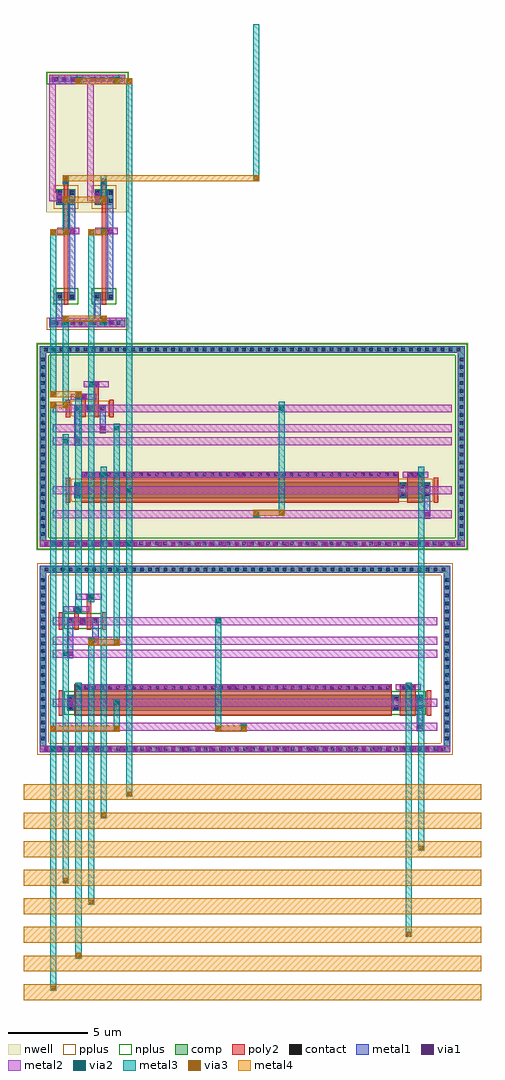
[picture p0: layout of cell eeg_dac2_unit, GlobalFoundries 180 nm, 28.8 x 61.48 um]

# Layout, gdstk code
import gdstk
lib = gdstk.Library(unit=1e-6, precision=1e-09)
def R(c, l, rs):  # rectangles x0, y0, x1, y1
    for r in rs: c.add(gdstk.rectangle(r[:2], r[2:], *l))
def A(c, l, x, y, w, h, nx, ny, dx, dy):  # array of equal rectangles
    R(c, l, [(x+i*dx, y+j*dy, x+i*dx+w, y+j*dy+h) for i in range(nx) for j in range(ny)])
nwell = (21, 0)
comp = (22, 0)
poly2 = (30, 0)
pplus = (31, 0)
nplus = (32, 0)
contact = (33, 0)
metal1 = (34, 0)
via1 = (35, 0)
metal2 = (36, 0)
via2 = (38, 0)
via3 = (40, 0)
metal3 = (42, 0)
metal4 = (46, 0)

dac2_n = lib.new_cell('dac2_n')
R(dac2_n, comp, [(0,0,25.86,0.42), (0,0,0.42,11.74), (25.44,0,25.86,11.74), (1.72,2.62,24.14,3.62), (1.72,8.02,3.7,8.52), (0,11.32,25.86,11.74)])
R(dac2_n, poly2, [(1.2,2.32,1.48,3.92), (2.17,2.32,22.17,4.28), (22.69,2.32,23.69,4.28), (24.38,2.32,24.66,3.92), (1.2,7.72,1.48,8.82), (2.17,7.72,2.45,9.18), (2.97,7.72,3.25,9.98), (3.94,7.72,4.22,8.82), (2.13,8.82,2.49,9.18), (2.93,9.62,3.29,9.98)])
R(dac2_n, pplus, [(-0.16,-0.16,26.02,0.58), (-0.16,-0.16,0.58,11.9), (25.28,-0.16,26.02,11.9), (-0.16,11.16,26.02,11.9)])
R(dac2_n, nplus, [(1.54,2.38,24.32,3.86), (1.54,7.78,3.88,8.76)])
A(dac2_n, contact, 0.32, 0.1, 0.22, 0.22, 51, 2, 0.5, 11.32)
A(dac2_n, contact, 0.1, 0.76, 0.22, 0.22, 1, 21, 0, 0.5)
A(dac2_n, contact, 25.54, 0.76, 0.22, 0.22, 1, 21, 0, 0.5)
A(dac2_n, contact, 2.31, 3.99, 0.22, 0.22, 40, 1, 0.5, 0)
A(dac2_n, contact, 1.8, 8.16, 0.22, 0.22, 3, 1, 0.8, 0)
R(dac2_n, contact, [(1.8,2.76,2.02,2.98), (22.32,2.76,22.54,2.98), (23.84,2.76,24.06,2.98), (1.8,3.26,2.02,3.48), (22.32,3.26,22.54,3.48), (23.84,3.26,24.06,3.48), (22.83,3.99,23.05,4.21), (23.33,3.99,23.55,4.21), (2.2,8.89,2.42,9.11), (3,9.69,3.22,9.91)])
R(dac2_n, metal1, [(0,0,25.86,0.42), (0,0,0.42,11.74), (25.44,0,25.86,11.74), (23.76,1.32,24.14,3.56), (1.72,2.68,2.1,3.56), (22.24,2.68,22.62,3.56), (2.23,3.91,22.11,4.29), (22.75,3.91,23.63,4.29), (1.72,5.92,2.1,8.46), (3.32,6.72,3.7,8.46), (2.52,8.08,2.9,8.46), (2.12,8.81,2.5,9.19), (2.92,9.61,3.3,9.99), (0,11.32,25.86,11.74)])
A(dac2_n, via1, 0.27, 0.08, 0.26, 0.26, 32, 1, 0.8, 0)
R(dac2_n, via1, [(23.82,1.49,24.08,1.75), (1.78,2.99,2.04,3.25), (12.04,3.97,12.3,4.23), (23.06,3.97,23.32,4.23), (1.78,6.09,2.04,6.35), (3.38,6.89,3.64,7.15), (2.58,8.14,2.84,8.4), (2.18,8.87,2.44,9.13), (2.98,9.67,3.24,9.93)])
R(dac2_n, metal2, [(0,0,25.86,0.42), (0.82,1.37,25.04,1.87), (0.82,2.87,25.04,3.37), (2.23,3.91,22.11,4.29), (22.41,3.91,24.01,4.29), (0.82,5.97,25.04,6.47), (0.82,6.77,25.04,7.27), (0.82,8.02,25.04,8.52), (1.51,8.81,3.11,9.19), (2.31,9.61,3.91,9.99)])

dac2_p = lib.new_cell('dac2_p')
R(dac2_p, nwell, [(-0.22,-0.22,26.98,12.86)])
R(dac2_p, comp, [(0,0,26.76,0.42), (0,0,0.42,12.64), (26.34,0,26.76,12.64), (2.17,3.07,24.59,4.07), (2.17,8.47,4.15,8.97), (0,12.22,26.76,12.64)])
R(dac2_p, poly2, [(1.65,2.77,1.93,4.37), (2.62,2.77,22.62,4.73), (23.14,2.77,24.14,4.73), (24.83,2.77,25.11,4.37), (1.65,8.17,1.93,9.27), (2.62,8.17,2.9,9.63), (3.42,8.17,3.7,10.43), (4.39,8.17,4.67,9.27), (2.58,9.27,2.94,9.63), (3.38,10.07,3.74,10.43)])
R(dac2_p, pplus, [(1.99,2.83,24.77,4.31), (1.99,8.23,4.33,9.21)])
R(dac2_p, nplus, [(-0.16,-0.16,26.92,0.58), (-0.16,-0.16,0.58,12.8), (26.18,-0.16,26.92,12.8), (-0.16,12.06,26.92,12.8)])
A(dac2_p, contact, 0.27, 0.1, 0.22, 0.22, 53, 2, 0.5, 12.22)
A(dac2_p, contact, 0.1, 0.71, 0.22, 0.22, 1, 23, 0, 0.5)
A(dac2_p, contact, 26.44, 0.71, 0.22, 0.22, 1, 23, 0, 0.5)
A(dac2_p, contact, 2.76, 4.44, 0.22, 0.22, 40, 1, 0.5, 0)
A(dac2_p, contact, 2.25, 8.61, 0.22, 0.22, 3, 1, 0.8, 0)
R(dac2_p, contact, [(2.25,3.21,2.47,3.43), (22.77,3.21,22.99,3.43), (24.29,3.21,24.51,3.43), (2.25,3.71,2.47,3.93), (22.77,3.71,22.99,3.93), (24.29,3.71,24.51,3.93), (23.28,4.44,23.5,4.66), (23.78,4.44,24,4.66), (2.65,9.34,2.87,9.56), (3.45,10.14,3.67,10.36)])
R(dac2_p, metal1, [(0,0,26.76,0.42), (0,0,0.42,12.64), (26.34,0,26.76,12.64), (24.21,1.77,24.59,4.01), (2.17,3.13,2.55,4.01), (22.69,3.13,23.07,4.01), (2.68,4.36,22.56,4.74), (23.2,4.36,24.08,4.74), (2.17,6.37,2.55,8.91), (3.77,7.17,4.15,8.91), (2.97,8.53,3.35,8.91), (2.57,9.26,2.95,9.64), (3.37,10.06,3.75,10.44), (0,12.22,26.76,12.64)])
A(dac2_p, via1, 0.27, 0.08, 0.26, 0.26, 33, 1, 0.8, 0)
R(dac2_p, via1, [(24.27,1.94,24.53,2.2), (2.23,3.44,2.49,3.7), (12.49,4.42,12.75,4.68), (23.51,4.42,23.77,4.68), (2.23,6.54,2.49,6.8), (3.83,7.34,4.09,7.6), (3.03,8.59,3.29,8.85), (2.63,9.32,2.89,9.58), (3.43,10.12,3.69,10.38)])
R(dac2_p, metal2, [(0,0,26.76,0.42), (0.82,1.82,25.94,2.32), (0.82,3.32,25.94,3.82), (2.68,4.36,22.56,4.74), (22.86,4.36,24.46,4.74), (0.82,6.42,25.94,6.92), (0.82,7.22,25.94,7.72), (0.82,8.47,25.94,8.97), (1.96,9.26,3.56,9.64), (2.76,10.06,4.36,10.44)])

eeg_dac2_inv = lib.new_cell('eeg_dac2_inv')
R(eeg_dac2_inv, nwell, [(-0.2,7.25,2.6,16.1)])
R(eeg_dac2_inv, comp, [(0,0,2.4,0.44), (0.45,1.7,1.63,2.2), (0.45,7.7,1.63,8.7), (0,15.46,2.4,15.9)])
R(eeg_dac2_inv, poly2, [(0.9,1.4,1.18,7.7), (0.9,7.4,1.18,9.36), (0.86,9,1.22,9.36)])
R(eeg_dac2_inv, pplus, [(-0.16,-0.16,2.56,0.6), (0.27,7.46,1.81,8.94)])
R(eeg_dac2_inv, nplus, [(0.27,1.46,1.81,2.44), (-0.16,15.3,2.56,16.06)])
A(eeg_dac2_inv, contact, 0.34, 0.14, 0.22, 0.22, 4, 2, 0.5, 15.4)
R(eeg_dac2_inv, contact, [(0.53,1.84,0.75,2.06), (1.33,1.84,1.55,2.06), (0.53,7.84,0.75,8.06), (1.33,7.84,1.55,8.06), (0.53,8.34,0.75,8.56), (1.33,8.34,1.55,8.56), (0.93,9.07,1.15,9.29)])
R(eeg_dac2_inv, metal1, [(0,0,2.4,0.6), (0,0,2.4,0.44), (0.45,0.3,0.83,2.14), (1.25,1.76,1.63,6.25), (1.25,5.85,1.63,8.64), (0.45,7.76,0.83,8.64), (0.85,8.99,1.23,9.37), (0,15.3,2.4,15.9), (0,15.46,2.4,15.9)])
A(eeg_dac2_inv, via1, 0.15, 0.17, 0.26, 0.26, 3, 2, 0.62, 15.3)
R(eeg_dac2_inv, via1, [(1.31,5.92,1.57,6.18), (1.31,5.92,1.57,6.18), (0.51,8.07,0.77,8.33), (0.91,9.05,1.17,9.31)])
R(eeg_dac2_inv, metal2, [(0,0,2.4,0.6), (0.5,5.85,1.9,6.25), (0,7.95,0.83,8.45), (0,7.95,0.4,15.3), (0.85,8.99,1.23,9.37), (0,15.3,2.4,15.9)])

dac2_invs = lib.new_cell('dac2_invs')
dac2_invs.add(gdstk.Reference(eeg_dac2_inv, (0,0)))
dac2_invs.add(gdstk.Reference(eeg_dac2_inv, (2.4,0)))

eeg_dac2_unit = lib.new_cell('eeg_dac2_unit')
R(eeg_dac2_unit, via2, [(1.71,16.28,1.97,16.54), (13.71,17.69,13.97,17.95), (5.71,19.19,5.97,19.45), (3.31,20.17,3.57,20.43), (24.11,20.17,24.37,20.43), (2.51,22.29,2.77,22.55), (4.11,23.09,4.37,23.35), (12.11,24.34,12.37,24.6), (3.31,25.07,3.57,25.33), (4.11,25.87,4.37,26.13), (6.51,29.22,6.77,29.48), (14.51,31.08,14.77,31.34), (6.51,32.58,6.77,32.84), (4.91,33.56,5.17,33.82), (24.91,33.56,25.17,33.82), (2.51,35.68,2.77,35.94), (5.71,36.48,5.97,36.74), (16.11,37.73,16.37,37.99), (3.31,38.46,3.57,38.72), (4.11,39.26,4.37,39.52), (2.51,43.15,2.77,43.41), (4.91,43.15,5.17,43.41), (2.51,48.9,2.77,49.16), (4.91,48.9,5.17,49.16), (2.51,52.03,2.77,52.29), (4.91,52.03,5.17,52.29), (3.31,58.45,3.57,58.71), (5.71,58.45,5.97,58.71)])
A(eeg_dac2_unit, via3, 2.51, 37.95, 0.26, 0.26, 1, 3, 0, 5.44)
R(eeg_dac2_unit, via3, [(1.71,1.23,1.97,1.49), (3.31,3.27,3.57,3.53), (24.11,4.63,24.37,4.89), (4.11,6.67,4.37,6.93), (2.51,8.03,2.77,8.29), (24.91,10.07,25.17,10.33), (4.91,12.11,5.17,12.37), (6.51,13.47,6.77,13.73), (1.71,17.55,1.97,17.81), (5.71,17.55,5.97,17.81), (12.11,17.55,12.37,17.81), (13.71,17.55,13.97,17.81), (4.11,22.99,4.37,23.25), (5.71,22.99,5.97,23.25), (14.51,31.15,14.77,31.41), (16.11,31.15,16.37,31.41), (1.71,37.95,1.97,38.21), (1.71,38.63,1.97,38.89), (3.31,38.63,3.57,38.89), (4.91,43.39,5.17,43.65), (1.71,48.83,1.97,49.09), (4.11,48.83,4.37,49.09), (4.91,48.83,5.17,49.09), (2.51,50.87,2.77,51.13), (4.91,50.87,5.17,51.13), (2.51,52.23,2.77,52.49), (14.51,52.23,14.77,52.49), (3.31,58.35,3.57,58.61), (5.71,58.35,5.97,58.61), (6.51,58.35,6.77,58.61)])
A(eeg_dac2_unit, metal3, 1.65, 1.17, 0.38, 1.06, 1, 10, 0, 0.68)
A(eeg_dac2_unit, metal3, 3.25, 3.21, 0.38, 1.06, 1, 7, 0, 0.68)
A(eeg_dac2_unit, metal3, 24.05, 4.57, 0.38, 1.06, 1, 23, 0, 0.68)
A(eeg_dac2_unit, metal3, 1.65, 7.97, 0.38, 1.06, 4, 6, 0.8, 0.68)
A(eeg_dac2_unit, metal3, 24.85, 10.01, 0.38, 1.06, 1, 35, 0, 0.68)
A(eeg_dac2_unit, metal3, 1.65, 12.05, 0.38, 1.06, 5, 8, 0.8, 0.68)
A(eeg_dac2_unit, metal3, 6.45, 13.41, 0.38, 1.06, 1, 6, 0, 0.68)
A(eeg_dac2_unit, metal3, 1.65, 17.49, 0.38, 1.06, 7, 2, 0.8, 0.68)
A(eeg_dac2_unit, metal3, 12.05, 17.49, 0.38, 1.06, 1, 10, 0, 0.68)
A(eeg_dac2_unit, metal3, 1.65, 18.85, 0.38, 1.06, 5, 2, 0.8, 0.68)
A(eeg_dac2_unit, metal3, 6.45, 18.85, 0.38, 1.06, 1, 6, 0, 0.68)
A(eeg_dac2_unit, metal3, 1.65, 20.21, 0.38, 1.06, 1, 7, 0, 0.68)
A(eeg_dac2_unit, metal3, 2.45, 20.21, 0.38, 1.06, 1, 7, 0, 0.68)
A(eeg_dac2_unit, metal3, 4.05, 20.21, 0.38, 1.06, 1, 4, 0, 0.68)
A(eeg_dac2_unit, metal3, 4.85, 20.21, 0.38, 1.06, 1, 4, 0, 0.68)
A(eeg_dac2_unit, metal3, 4.85, 22.93, 0.38, 1.06, 3, 4, 0.8, 0.68)
A(eeg_dac2_unit, metal3, 1.65, 24.97, 0.38, 1.06, 3, 1, 0.8, 0)
A(eeg_dac2_unit, metal3, 1.65, 25.65, 0.38, 1.06, 7, 12, 0.8, 0.68)
A(eeg_dac2_unit, metal3, 16.05, 31.09, 0.38, 1.06, 1, 10, 0, 0.68)
A(eeg_dac2_unit, metal3, 1.65, 33.81, 0.38, 1.06, 4, 3, 0.8, 0.68)
A(eeg_dac2_unit, metal3, 5.65, 33.81, 0.38, 1.06, 1, 4, 0, 0.68)
A(eeg_dac2_unit, metal3, 6.45, 33.81, 0.38, 1.06, 1, 14, 0, 0.68)
A(eeg_dac2_unit, metal3, 1.65, 35.85, 0.38, 1.06, 1, 3, 0, 0.68)
A(eeg_dac2_unit, metal3, 3.25, 35.85, 0.38, 1.06, 1, 3, 0, 0.68)
A(eeg_dac2_unit, metal3, 4.05, 35.85, 0.38, 1.06, 1, 3, 0, 0.68)
A(eeg_dac2_unit, metal3, 2.45, 37.89, 0.38, 1.06, 3, 1, 0.8, 0)
A(eeg_dac2_unit, metal3, 2.45, 37.89, 0.38, 0.38, 1, 3, 0, 5.44)
A(eeg_dac2_unit, metal3, 1.65, 38.57, 0.38, 1.06, 1, 7, 0, 0.68)
A(eeg_dac2_unit, metal3, 2.45, 38.57, 0.38, 1.06, 1, 7, 0, 0.68)
A(eeg_dac2_unit, metal3, 4.05, 38.57, 0.38, 1.06, 1, 7, 0, 0.68)
A(eeg_dac2_unit, metal3, 1.65, 43.33, 0.38, 1.06, 3, 8, 2.4, 0.68)
A(eeg_dac2_unit, metal3, 2.45, 48.77, 0.38, 1.06, 1, 3, 0, 0.68)
A(eeg_dac2_unit, metal3, 6.45, 48.77, 0.38, 1.06, 1, 14, 0, 0.68)
A(eeg_dac2_unit, metal3, 14.45, 52.17, 0.38, 1.06, 1, 12, 0, 0.68)
R(eeg_dac2_unit, metal3, [(1.65,1.17,2.03,1.55), (3.25,3.21,3.63,3.59), (24.05,4.57,24.43,4.95), (4.05,6.61,4.43,7.67), (4.05,6.61,4.43,6.99), (4.05,7.29,4.43,8.35), (2.45,7.97,2.83,8.35), (24.85,10.01,25.23,10.39), (4.85,12.05,5.23,12.43), (6.45,13.41,6.83,13.79), (1.65,16.13,2.03,16.6), (1.65,17.49,2.03,17.87), (5.65,17.49,6.03,17.87), (12.05,17.49,12.43,17.87), (13.65,17.49,14.03,17.87), (13.65,17.49,14.03,18.01), (5.65,18.85,6.03,19.51), (3.25,20.11,3.63,20.59), (24.05,20.11,24.43,20.59), (2.45,22.23,2.83,22.63), (4.05,22.93,4.43,23.31), (4.05,22.93,4.43,23.41), (5.65,22.93,6.03,23.31), (12.05,24.28,12.43,24.67), (3.25,24.97,3.63,25.39), (4.05,25.65,4.43,26.19), (6.45,29.05,6.83,29.54), (14.45,31.02,14.83,31.47), (14.45,31.09,14.83,31.47), (16.05,31.09,16.43,31.47), (6.45,32.45,6.83,32.9), (4.85,33.5,5.23,34.19), (24.85,33.5,25.23,34.19), (2.45,35.62,2.83,36.23), (5.65,36.42,6.03,36.91), (16.05,37.67,16.43,38.27), (1.65,37.89,2.03,38.27), (3.25,38.4,3.63,38.95), (1.65,38.57,2.03,38.95), (3.25,38.57,3.63,38.95), (4.05,39.2,4.43,39.63), (2.45,43.09,2.83,43.71), (4.85,43.09,5.23,43.71), (4.85,43.33,5.23,43.71), (1.65,48.77,2.03,49.15), (2.45,48.77,2.83,49.22), (4.05,48.77,4.43,49.15), (4.85,48.77,5.23,49.15), (4.85,48.77,5.23,49.22), (2.45,50.81,2.83,51.19), (4.85,50.81,5.23,51.87), (4.85,50.81,5.23,51.19), (4.85,51.49,5.23,52.55), (2.45,51.97,2.83,52.55), (4.85,51.97,5.23,52.55), (2.45,52.17,2.83,52.55), (14.45,52.17,14.83,52.55), (3.25,58.29,3.63,58.67), (3.25,58.29,3.63,58.77), (5.65,58.29,6.03,58.67), (5.65,58.29,6.03,58.77), (6.45,58.29,6.83,58.67), (14.45,60.48,14.83,62.08)])
A(eeg_dac2_unit, metal4, 0, 0.6, 28.8, 1, 1, 8, 0, 1.8)
A(eeg_dac2_unit, metal4, 1.65, 17.49, 1.18, 0.38, 5, 1, 0.8, 0)
A(eeg_dac2_unit, metal4, 2.45, 37.89, 0.38, 0.38, 1, 3, 0, 5.44)
A(eeg_dac2_unit, metal4, 2.45, 43.33, 1.18, 0.38, 3, 2, 0.8, 7.48)
A(eeg_dac2_unit, metal4, 2.45, 52.17, 1.18, 0.38, 15, 1, 0.8, 0)
A(eeg_dac2_unit, metal4, 3.25, 58.29, 1.18, 0.38, 4, 1, 0.8, 0)
R(eeg_dac2_unit, metal4, [(1.65,1.17,2.03,1.55), (3.25,3.21,3.63,3.59), (24.05,4.57,24.43,4.95), (4.05,6.61,4.43,6.99), (2.45,7.97,2.83,8.35), (24.85,10.01,25.23,10.39), (4.85,12.05,5.23,12.43), (6.45,13.41,6.83,13.79), (1.65,17.49,2.03,17.87), (5.65,17.49,6.03,17.87), (12.05,17.49,12.43,17.87), (12.05,17.49,13.23,17.87), (12.85,17.49,14.03,17.87), (13.65,17.49,14.03,17.87), (4.05,22.93,4.43,23.31), (4.05,22.93,5.23,23.31), (4.85,22.93,6.03,23.31), (5.65,22.93,6.03,23.31), (14.45,31.09,14.83,31.47), (14.45,31.09,15.63,31.47), (15.25,31.09,16.43,31.47), (16.05,31.09,16.43,31.47), (1.65,37.89,2.03,38.27), (1.65,37.89,2.83,38.27), (1.65,38.57,2.03,38.95), (1.65,38.57,2.83,38.95), (2.45,38.57,3.63,38.95), (3.25,38.57,3.63,38.95), (4.85,43.33,5.23,43.71), (1.65,48.77,2.03,49.15), (1.65,48.77,2.83,49.15), (4.05,48.77,4.43,49.15), (4.05,48.77,5.23,49.15), (4.85,48.77,5.23,49.15), (2.45,50.81,2.83,51.19), (4.85,50.81,5.23,51.19), (2.45,52.17,2.83,52.55), (14.45,52.17,14.83,52.55), (3.25,58.29,3.63,58.67), (5.65,58.29,6.03,58.67), (6.45,58.29,6.83,58.67)])
eeg_dac2_unit.add(gdstk.Reference(dac2_n, (1,16.2)))
eeg_dac2_unit.add(gdstk.Reference(dac2_p, (1,29.14)))
eeg_dac2_unit.add(gdstk.Reference(dac2_invs, (1.6,42.98)))

lib.write_gds('eeg_dac2_unit.gds')
